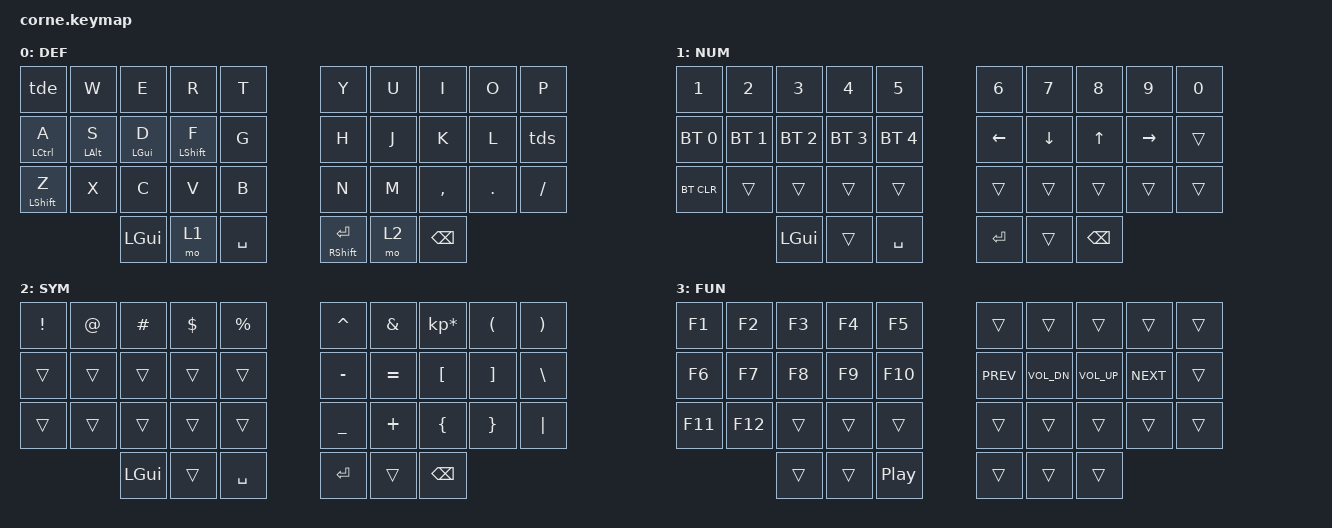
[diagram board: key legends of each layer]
/*
 * Copyright (c) 2020 The ZMK Contributors
 *
 * SPDX-License-Identifier: MIT
 */

#include <behaviors.dtsi>
#include <dt-bindings/zmk/keys.h>
#include <dt-bindings/zmk/bt.h>

// Layer aliases
#define DEF 0
#define NUM 1
#define SYM 2
#define FUN 3

#include "combos.dtsi"

&mt {
    tapping-term-ms = <150>;
    quick_tap_ms = <0>;
    flavor = "hold-preferred";
};

&lt {
    tapping-term-ms = <150>;
    quick_tap_ms = <0>;
    flavor = "tap-preferred";
};

&sk {
    release-after-ms = <500>;
    quick-release;
};

&caps_word {
    continue-list = <UNDERSCORE MINUS BSPC DEL N1 N2 N3 N4 N5 N6 N7 N8 N9 N0>;
};

/ {
    chosen {
        zmk,matrix_transform = &five_column_transform;
    };

    behaviors {

        am: alpha_mods {
            compatible = "zmk,behavior-hold-tap";
            label = "ALPHA_MT";
            #binding-cells = <2>;
            tapping-term-ms = <250>;
            quick-tap-ms = <150>;
            flavor = "tap-preferred";
            bindings = <&kp>, <&kp>;
        };

        as: alpha_shift {
            compatible = "zmk,behavior-hold-tap";
            label = "ALPHA_SFT";
            #binding-cells = <2>;
            tapping-term-ms = <200>;
            quick-tap-ms = <150>;
            flavor = "tap-preferred";
            bindings = <&kp>, <&kp>;
        };

        tde: tap_dance_esc {
            compatible = "zmk,behavior-tap-dance";
            label = "TAP_DANCE_ESC";
            #binding-cells = <0>;
            tapping-term-ms = <200>;
            bindings = <&kp Q>, <&kp ESC>;
        };

        tds: tap_dance_semi {
            compatible = "zmk,behavior-tap-dance";
            label = "TAP_DANCE_SEMI";
            #binding-cells = <0>;
            tapping-term-ms = <200>;
            bindings = <&kp SINGLE_QUOTE>, <&kp SEMI>;
        };
    };

    combos {
        compatible = "zmk,combos";

        tilde {
            bindings = <&kp TILDE>;
            key-positions = <28 29>;
            timeout-ms = <40>;
            layers = <0>;
        };

        tab {
            bindings = <&kp TAB>;
            key-positions = <0 1>;
            timeout-ms = <40>;
            layers = <0>;
        };
    };

    keymap {
        compatible = "zmk,keymap";

        default_layer {
            label = "DEF";
            // ------------------------------------------------------------------
            // |  Q  |  W  |  E  |  R  |  T  |   |  Y  |  U   |  I  |  O  |  P  |
            // |  A  |  S  |  D  |  F  |  G  |   |  H  |  J   |  K  |  L  |  ;  |
            // |  Z  |  X  |  C  |  V  |  B  |   |  N  |  M   |  ,  |  .  |  /  |
            //             | GUI | LWR | SPC |   | ENT | RSE  | ALT |

            bindings = <
                &tde       &kp W       &kp E         &kp R      &kp T                     &kp Y   &kp U          &kp I    &kp O                  &kp P
          &am LCTRL A  &am LALT S  &am LGUI D  &as LSHIFT F      &kp G                     &kp H   &kp J          &kp K    &kp L  &tds
         &as LSHIFT Z       &kp X       &kp C         &kp V      &kp B                     &kp N   &kp M      &kp COMMA  &kp DOT               &kp FSLH
                                     &kp LGUI         &mo 1  &kp SPACE          &am RSHIFT ENTER   &mo 2  &kp BACKSPACE
            >;
        };

        number_layer {
            label = "NUM";
            // -----------------------------------------------------------------
            // |  1  |  2  |  3  |  4  |  5  |   |  6  |  7  |  8  |  9  |  0  |
            // | BT1 | BT2 | BT3 | BT4 | BT5 |   | LFT | DWN |  UP | RGT |     |
            // |     |     |     |     |     |   |     |     |     |     |     |
            //             | GUI |     | SPC |   | ENT |     | ALT |

            bindings = <
               &kp N1        &kp N2        &kp N3        &kp N4        &kp N5            &kp N6    &kp N7         &kp N8     &kp N9  &kp N0
         &bt BT_SEL 0  &bt BT_SEL 1  &bt BT_SEL 2  &bt BT_SEL 3  &bt BT_SEL 4          &kp LEFT  &kp DOWN         &kp UP  &kp RIGHT  &trans
           &bt BT_CLR        &trans        &trans        &trans        &trans            &trans    &trans         &trans     &trans  &trans
                                         &kp LGUI        &trans     &kp SPACE           &kp RET    &trans  &kp BACKSPACE
            >;
        };

        symbols_layer {
            label = "SYM";
            // -----------------------------------------------------------------
            // |  !  |  @  |  #  |  $  |  %  |   |  ^  |  &  |  *  |  (  |  )  |
            // |     |     |     |     |     |   |  -  |  =  |  [  |  ]  |  \  |
            // |     |     |     |     |     |   |  _  |  +  |  {  |  }  | "|" |
            //             | GUI |     | SPC |   | ENT |     | ALT |

            bindings = <
         &kp EXCL  &kp AT  &kp HASH  &kp DLLR  &kp PRCNT          &kp CARET   &kp AMPS  &kp KP_MULTIPLY  &kp LPAR  &kp RPAR
           &trans  &trans    &trans    &trans     &trans          &kp MINUS  &kp EQUAL         &kp LBKT  &kp RBKT  &kp BSLH
           &trans  &trans    &trans    &trans     &trans          &kp UNDER   &kp PLUS         &kp LBRC  &kp RBRC  &kp PIPE
                           &kp LGUI    &trans  &kp SPACE            &kp RET     &trans    &kp BACKSPACE
            >;
        };

        function_layer {
            label = "FUN";
            // -----------------------------------------------------------------
            // |  F1 |  F2 |  F3 |  F4 |  F5 |   |     |     |     |     |     |
            // |  F6 |  F7 |  F8 |  F9 | F10 |   | PREV| VOLD| VOLU| NEXT|     |
            // | F11 | F12 |     |     |     |   |     |     |     |     |     |
            //             |     |     | PLAY|   |     |     |     |
            bindings = <
          &kp F1   &kp F2  &kp F3  &kp F4   &kp F5          &trans  &trans  &trans  &trans  &trans
          &kp F6   &kp F7  &kp F8  &kp F9  &kp F10          &kp C_PREV  &kp C_VOL_DN  &kp C_VOL_UP  &kp C_NEXT  &trans
         &kp F11  &kp F12  &trans  &trans   &trans          &trans  &trans  &trans  &trans  &trans
                           &trans  &trans   &kp C_PP          &trans  &trans  &trans
            >;
        };
    };
};
